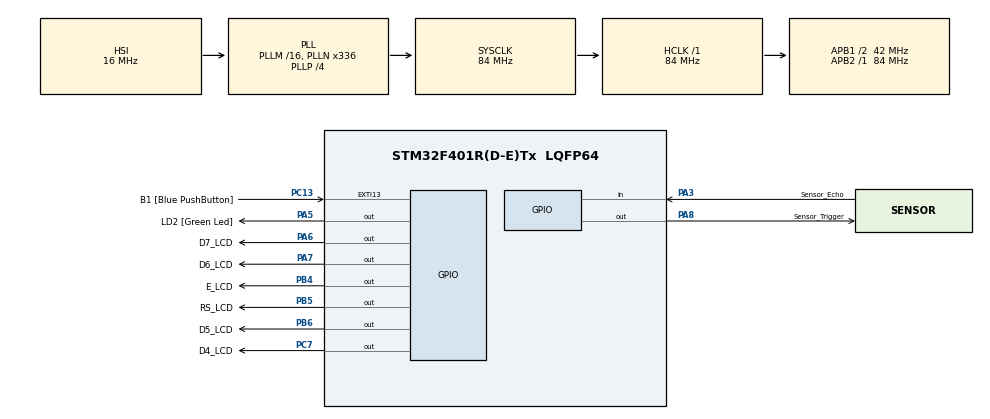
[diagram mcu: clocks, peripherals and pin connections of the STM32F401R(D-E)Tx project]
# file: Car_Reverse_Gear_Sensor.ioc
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Mcu.Family=STM32F4
Mcu.Name=STM32F401R(D-E)Tx
Mcu.Package=LQFP64
NVIC.PriorityGroup=NVIC_PRIORITYGROUP_0
PA13.GPIO_Label=TMS
PA13.Mode=Serial_Wire
PA13.Signal=SYS_JTMS-SWDIO
PA14.GPIO_Label=TCK
PA14.Mode=Serial_Wire
PA14.Signal=SYS_JTCK-SWCLK
PA3.GPIO_Label=Sensor_Echo
PA3.Signal=GPIO_Input
PA5.GPIO_Label=LD2 [Green Led]
PA5.GPIO_Mode=GPIO_MODE_OUTPUT_PP
PA5.GPIO_PuPd=GPIO_NOPULL
PA5.GPIO_Speed=GPIO_SPEED_FREQ_LOW
PA5.Signal=GPIO_Output
PA6.GPIO_Label=D7_LCD
PA6.Signal=GPIO_Output
PA7.GPIO_Label=D6_LCD
PA7.Signal=GPIO_Output
PA8.GPIO_Label=Sensor_Trigger
PA8.Signal=GPIO_Output
PB4.GPIO_Label=E_LCD
PB4.Signal=GPIO_Output
PB5.GPIO_Label=RS_LCD
PB5.Signal=GPIO_Output
PB6.GPIO_Label=D5_LCD
PB6.Signal=GPIO_Output
PC13-ANTI_TAMP.GPIO_Label=B1 [Blue PushButton]
PC13-ANTI_TAMP.GPIO_ModeDefaultEXTI=GPIO_MODE_IT_FALLING
PC13-ANTI_TAMP.GPIO_PuPd=GPIO_NOPULL
PC13-ANTI_TAMP.Signal=GPXTI13
PC7.GPIO_Label=D4_LCD
PC7.Signal=GPIO_Output
ProjectManager.HeapSize=0x200
ProjectManager.StackSize=0x400
ProjectManager.TargetToolchain=STM32CubeIDE
RCC.AHBFreq_Value=84000000
RCC.APB1CLKDivider=RCC_HCLK_DIV2
RCC.APB1Freq_Value=42000000
RCC.APB1TimFreq_Value=84000000
RCC.APB2Freq_Value=84000000
RCC.APB2TimFreq_Value=84000000
RCC.CortexFreq_Value=84000000
RCC.HCLKFreq_Value=84000000
RCC.HSE_VALUE=8000000
RCC.HSI_VALUE=16000000
RCC.LSE_VALUE=32768
RCC.PLLN=336
RCC.PLLP=RCC_PLLP_DIV4
RCC.PLLQ=7
RCC.SYSCLKFreq_VALUE=84000000
RCC.SYSCLKSource=RCC_SYSCLKSOURCE_PLLCLK
RCC.VCOOutputFreq_Value=336000000
TIM1.Period=0xffff-1
TIM1.Prescaler=84-1
TIM9.Period=0xffff-1
TIM9.Prescaler=84-1
VP_TIM1_VS_ClockSourceINT.Mode=Internal
VP_TIM9_VS_ClockSourceINT.Mode=Internal
board=NUCLEO-F401RE

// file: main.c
/* USER CODE BEGIN Header */
/**
  ******************************************************************************
  * @file           : main.c
  * @brief          : Main program body
  ******************************************************************************
  * @attention
  *
  * Copyright (c) 2022 STMicroelectronics.
  * All rights reserved.
  *
  * This software is licensed under terms that can be found in the LICENSE file
  * in the root directory of this software component.
  * If no LICENSE file comes with this software, it is provided AS-IS.
  *
  ******************************************************************************
  */
/* USER CODE END Header */
#include "main.h"

/* USER CODE BEGIN Includes */
#include "lcd.h"
/* USER CODE END Includes */

TIM_HandleTypeDef htim1;
TIM_HandleTypeDef htim9;

/* USER CODE BEGIN PV */
uint16_t elapsed_time = 0;
uint16_t distance = 0;
const float sound_velocity = 0.0343; // 340 m/s or 0.0343 cm/us
/* USER CODE END PV */

void SystemClock_Config(void);
static void MX_GPIO_Init(void);
static void MX_TIM1_Init(void);
static void MX_TIM9_Init(void);

/* USER CODE BEGIN 0 */
void delay_us(uint16_t us);
void reset_TIM_9();
uint16_t get_TIM9_val();
/* USER CODE END 0 */

int main(void)
{

  /* MCU Configuration--------------------------------------------------------*/

  /* Reset of all peripherals, Initializes the Flash interface and the Systick. */
  HAL_Init();

  /* Configure the system clock */
  SystemClock_Config();

  /* Initialize all configured peripherals */
  MX_GPIO_Init();
  MX_TIM1_Init();
  MX_TIM9_Init();
  /* USER CODE BEGIN 2 */
  HAL_TIM_Base_Start(&htim1);
  HAL_TIM_Base_Start(&htim9);
  /* USER CODE END 2 */

  /* Infinite loop */
  /* USER CODE BEGIN WHILE */
  while (1)
  {
	  HAL_GPIO_TogglePin(GPIOA, GPIO_PIN_5);
	  HAL_GPIO_WritePin(GPIOA, GPIO_PIN_8, GPIO_PIN_RESET);
	  delay_us(5);

	  // Sound Sensor CODE:
	  HAL_GPIO_WritePin(GPIOA, GPIO_PIN_8, GPIO_PIN_SET);
	  delay_us(10);
	  HAL_GPIO_WritePin(GPIOA, GPIO_PIN_8, GPIO_PIN_RESET);

	  //while(HAL_GPIO_ReadPin(GPIOA, GPIO_PIN_3) == GPIO_PIN_RESET);
	  uint32_t tickNum = 0;
	  while(HAL_GPIO_ReadPin(GPIOA, GPIO_PIN_3) == GPIO_PIN_SET)
	  {
		  tickNum++;
		  delay_us(1);
	  }
	  HAL_GPIO_TogglePin(GPIOA, GPIO_PIN_5);
	  HAL_Delay(1000);
/*

	  //elapsed_time = get_TIM9_val();
	  distance = ((tickNum * sound_velocity))/2;

	  // LCD CODE:
	  // Lcd_PortType ports[] = { D4_GPIO_Port, D5_GPIO_Port, D6_GPIO_Port, D7_GPIO_Port };
	  Lcd_PortType ports[] = { GPIOC, GPIOB, GPIOA, GPIOA };
	  // Lcd_PinType pins[] = {D4_Pin, D5_Pin, D6_Pin, D7_Pin};
	  Lcd_PinType pins[] = {GPIO_PIN_7, GPIO_PIN_6, GPIO_PIN_7, GPIO_PIN_6};
	  Lcd_HandleTypeDef lcd;
	  // Lcd_create(ports, pins, RS_GPIO_Port, RS_Pin, EN_GPIO_Port, EN_Pin, LCD_4_BIT_MODE);
	  lcd = Lcd_create(ports, pins, GPIOB, GPIO_PIN_5, GPIOB, GPIO_PIN_4, LCD_4_BIT_MODE);
	  Lcd_cursor(&lcd, 0,1);
	  Lcd_string(&lcd, "Distance: ");
	  Lcd_int(&lcd, distance);
	  Lcd_string(&lcd, "cm");

	  reset_TIM_9();
	  HAL_GPIO_TogglePin(GPIOA, GPIO_PIN_5);
*/

    /* USER CODE END WHILE */

  }
}

void SystemClock_Config(void)
{
  RCC_OscInitTypeDef RCC_OscInitStruct = {0};
  RCC_ClkInitTypeDef RCC_ClkInitStruct = {0};

  /** Configure the main internal regulator output voltage
  */
  __HAL_RCC_PWR_CLK_ENABLE();
  __HAL_PWR_VOLTAGESCALING_CONFIG(PWR_REGULATOR_VOLTAGE_SCALE2);

  /** Initializes the RCC Oscillators according to the specified parameters
  * in the RCC_OscInitTypeDef structure.
  */
  RCC_OscInitStruct.OscillatorType = RCC_OSCILLATORTYPE_HSI;
  RCC_OscInitStruct.HSIState = RCC_HSI_ON;
  RCC_OscInitStruct.HSICalibrationValue = RCC_HSICALIBRATION_DEFAULT;
  RCC_OscInitStruct.PLL.PLLState = RCC_PLL_ON;
  RCC_OscInitStruct.PLL.PLLSource = RCC_PLLSOURCE_HSI;
  RCC_OscInitStruct.PLL.PLLM = 16;
  RCC_OscInitStruct.PLL.PLLN = 336;
  RCC_OscInitStruct.PLL.PLLP = RCC_PLLP_DIV4;
  RCC_OscInitStruct.PLL.PLLQ = 7;
  if (HAL_RCC_OscConfig(&RCC_OscInitStruct) != HAL_OK)
  {
    Error_Handler();
  }

  /** Initializes the CPU, AHB and APB buses clocks
  */
  RCC_ClkInitStruct.ClockType = RCC_CLOCKTYPE_HCLK|RCC_CLOCKTYPE_SYSCLK
                              |RCC_CLOCKTYPE_PCLK1|RCC_CLOCKTYPE_PCLK2;
  RCC_ClkInitStruct.SYSCLKSource = RCC_SYSCLKSOURCE_PLLCLK;
  RCC_ClkInitStruct.AHBCLKDivider = RCC_SYSCLK_DIV1;
  RCC_ClkInitStruct.APB1CLKDivider = RCC_HCLK_DIV2;
  RCC_ClkInitStruct.APB2CLKDivider = RCC_HCLK_DIV1;

  if (HAL_RCC_ClockConfig(&RCC_ClkInitStruct, FLASH_LATENCY_2) != HAL_OK)
  {
    Error_Handler();
  }
}

static void MX_TIM1_Init(void)
{

  TIM_ClockConfigTypeDef sClockSourceConfig = {0};
  TIM_MasterConfigTypeDef sMasterConfig = {0};

  htim1.Instance = TIM1;
  htim1.Init.Prescaler = 84-1;
  htim1.Init.CounterMode = TIM_COUNTERMODE_UP;
  htim1.Init.Period = 0xffff-1;
  htim1.Init.ClockDivision = TIM_CLOCKDIVISION_DIV1;
  htim1.Init.RepetitionCounter = 0;
  htim1.Init.AutoReloadPreload = TIM_AUTORELOAD_PRELOAD_DISABLE;
  if (HAL_TIM_Base_Init(&htim1) != HAL_OK)
  {
    Error_Handler();
  }
  sClockSourceConfig.ClockSource = TIM_CLOCKSOURCE_INTERNAL;
  if (HAL_TIM_ConfigClockSource(&htim1, &sClockSourceConfig) != HAL_OK)
  {
    Error_Handler();
  }
  sMasterConfig.MasterOutputTrigger = TIM_TRGO_RESET;
  sMasterConfig.MasterSlaveMode = TIM_MASTERSLAVEMODE_DISABLE;
  if (HAL_TIMEx_MasterConfigSynchronization(&htim1, &sMasterConfig) != HAL_OK)
  {
    Error_Handler();
  }

}

static void MX_TIM9_Init(void)
{

  TIM_ClockConfigTypeDef sClockSourceConfig = {0};

  htim9.Instance = TIM9;
  htim9.Init.Prescaler = 84-1;
  htim9.Init.CounterMode = TIM_COUNTERMODE_UP;
  htim9.Init.Period = 0xffff-1;
  htim9.Init.ClockDivision = TIM_CLOCKDIVISION_DIV1;
  htim9.Init.AutoReloadPreload = TIM_AUTORELOAD_PRELOAD_DISABLE;
  if (HAL_TIM_Base_Init(&htim9) != HAL_OK)
  {
    Error_Handler();
  }
  sClockSourceConfig.ClockSource = TIM_CLOCKSOURCE_INTERNAL;
  if (HAL_TIM_ConfigClockSource(&htim9, &sClockSourceConfig) != HAL_OK)
  {
    Error_Handler();
  }

}

static void MX_GPIO_Init(void)
{
  GPIO_InitTypeDef GPIO_InitStruct = {0};

  /* GPIO Ports Clock Enable */
  __HAL_RCC_GPIOC_CLK_ENABLE();
  __HAL_RCC_GPIOH_CLK_ENABLE();
  __HAL_RCC_GPIOA_CLK_ENABLE();
  __HAL_RCC_GPIOB_CLK_ENABLE();

  /*Configure GPIO pin Output Level */
  HAL_GPIO_WritePin(GPIOA, LD2_Pin|D7_LCD_Pin|D6_LCD_Pin|Sensor_Trigger_Pin, GPIO_PIN_RESET);

  /*Configure GPIO pin Output Level */
  HAL_GPIO_WritePin(D4_LCD_GPIO_Port, D4_LCD_Pin, GPIO_PIN_RESET);

  /*Configure GPIO pin Output Level */
  HAL_GPIO_WritePin(GPIOB, E_LCD_Pin|RS_LCD_Pin|D5_LCD_Pin, GPIO_PIN_RESET);

  /*Configure GPIO pin : B1_Pin */
  GPIO_InitStruct.Pin = B1_Pin;
  GPIO_InitStruct.Mode = GPIO_MODE_IT_FALLING;
  GPIO_InitStruct.Pull = GPIO_NOPULL;
  HAL_GPIO_Init(B1_GPIO_Port, &GPIO_InitStruct);

  /*Configure GPIO pin : Sensor_Echo_Pin */
  GPIO_InitStruct.Pin = Sensor_Echo_Pin;
  GPIO_InitStruct.Mode = GPIO_MODE_INPUT;
  GPIO_InitStruct.Pull = GPIO_NOPULL;
  HAL_GPIO_Init(Sensor_Echo_GPIO_Port, &GPIO_InitStruct);

  /*Configure GPIO pins : LD2_Pin D7_LCD_Pin D6_LCD_Pin Sensor_Trigger_Pin */
  GPIO_InitStruct.Pin = LD2_Pin|D7_LCD_Pin|D6_LCD_Pin|Sensor_Trigger_Pin;
  GPIO_InitStruct.Mode = GPIO_MODE_OUTPUT_PP;
  GPIO_InitStruct.Pull = GPIO_NOPULL;
  GPIO_InitStruct.Speed = GPIO_SPEED_FREQ_LOW;
  HAL_GPIO_Init(GPIOA, &GPIO_InitStruct);

  /*Configure GPIO pin : D4_LCD_Pin */
  GPIO_InitStruct.Pin = D4_LCD_Pin;
  GPIO_InitStruct.Mode = GPIO_MODE_OUTPUT_PP;
  GPIO_InitStruct.Pull = GPIO_NOPULL;
  GPIO_InitStruct.Speed = GPIO_SPEED_FREQ_LOW;
  HAL_GPIO_Init(D4_LCD_GPIO_Port, &GPIO_InitStruct);

  /*Configure GPIO pins : E_LCD_Pin RS_LCD_Pin D5_LCD_Pin */
  GPIO_InitStruct.Pin = E_LCD_Pin|RS_LCD_Pin|D5_LCD_Pin;
  GPIO_InitStruct.Mode = GPIO_MODE_OUTPUT_PP;
  GPIO_InitStruct.Pull = GPIO_NOPULL;
  GPIO_InitStruct.Speed = GPIO_SPEED_FREQ_LOW;
  HAL_GPIO_Init(GPIOB, &GPIO_InitStruct);

}

/* USER CODE BEGIN 4 */
void delay_us(uint16_t us)
{
	__HAL_TIM_SET_COUNTER(&htim1, 0); // set the counter value a 0.
	while (__HAL_TIM_GET_COUNTER(&htim1) < us); // wait for the counter to reach the us input in the parameter.
}

void reset_TIM_9()
{
	__HAL_TIM_SET_COUNTER(&htim9, 0); // set the counter value a 0.
}

uint16_t get_TIM9_val()
{
	return __HAL_TIM_GET_COUNTER(&htim9); // get current timer value (in us).
}
/* USER CODE END 4 */

void Error_Handler(void)
{
  __disable_irq();
  while (1)
  {
  }
}
